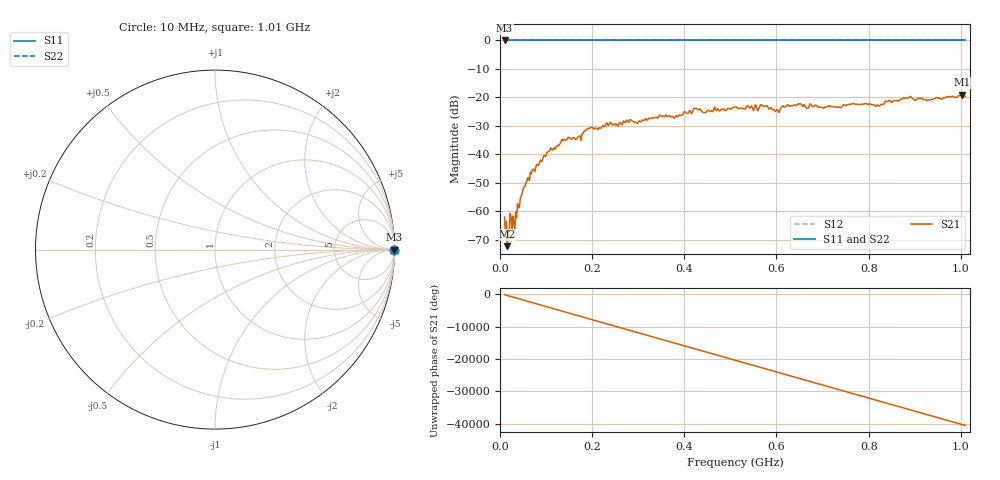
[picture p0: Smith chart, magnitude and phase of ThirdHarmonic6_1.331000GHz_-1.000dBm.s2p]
! 8/16/2025 2:52:56 PM
! C:\ANRITSUVNA\TEMP\TEMP.S2P
! CHANNEL.1
! TR.MEASUREMENT
! RAW.DATA
! RF.CORRECTION.OFF
! AVERAGING.OFF
! IF.BANDWIDTH: 5KHZ
! SWEEPTYPE:  FREQ.SWEEP(Linear)
! Reference Plane Port Info
! PORT:  PORT1  PORT2
! DISTANCE:  0  m  0  m
! TIME:  0  s  0  s
! PHASE.OFFSET:  0  deg.  0  deg.
! LOSS:  0  dB  0  dB
! REF.LOSS:  0  dB  0  dB
! REF.FREQ:  0  Hz  0  Hz
! Power Info
! POWER:  -20  dBm  -20  dBm
! EFF.POWER:  -20  dBm  -20  dBm
! SOURCE.ATTEN:  0  dB  0  dB
! TEST.ATTEN:  0  dB  0  dB
# GHZ S RI R 50.0
! FREQ.GHZ  S11RE  S11IM  S21RE  S21IM  S12RE  S12IM  S22RE  S22IM
!; PortSelection: Port_12
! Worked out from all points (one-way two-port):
!   501 points, 10 MHz to 1.01 GHz, reference 50 ohm
!   highest |S21| = -18.96 dB at 1.002 GHz (marker M1); lowest = -72.2 dB at 16 MHz (marker M2)
!   lowest |S11| = 0.0 dB at 10 MHz (marker M3)
!   |S11| at or under -10 dB: nowhere
!   |S22| runs from 0.0 to 0.0 dB; largest |S21 - S12| = 1.1
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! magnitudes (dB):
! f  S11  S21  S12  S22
! 10 MHz  0.0  -62.0  0.0  0.0
! 16 MHz  0.0  -72.2  0.0  0.0
! 26 MHz  0.0  -66.5  0.0  0.0
! 30 MHz  0.0  -64.0  0.0  0.0
! 48 MHz  0.0  -53.8  0.0  0.0
! 70 MHz  0.0  -45.6  0.0  0.0
! 136 MHz  0.0  -35.3  0.0  0.0
! 178 MHz  0.0  -32.8  0.0  0.0
! 196 MHz  0.0  -30.7  0.0  0.0
! 344 MHz  0.0  -26.9  0.0  0.0
! 382 MHz  0.0  -26.4  0.0  0.0
! 424 MHz  0.0  -23.8  0.0  0.0
! 444 MHz  0.0  -25.2  0.0  0.0
! 510 MHz  0.0  -23.3  0.0  0.0
! 570 MHz  0.0  -23.0  0.0  0.0
! 602 MHz  0.0  -24.3  0.0  0.0
! 624 MHz  0.0  -22.6  0.0  0.0
! 678 MHz  0.0  -23.2  0.0  0.0
! 820 MHz  0.0  -22.6  0.0  0.0
! 844 MHz  0.0  -21.0  0.0  0.0
! 1.002 GHz  0.0  -19.0  0.0  0.0
! 1.01 GHz  0.0  -19.7  0.0  0.0
